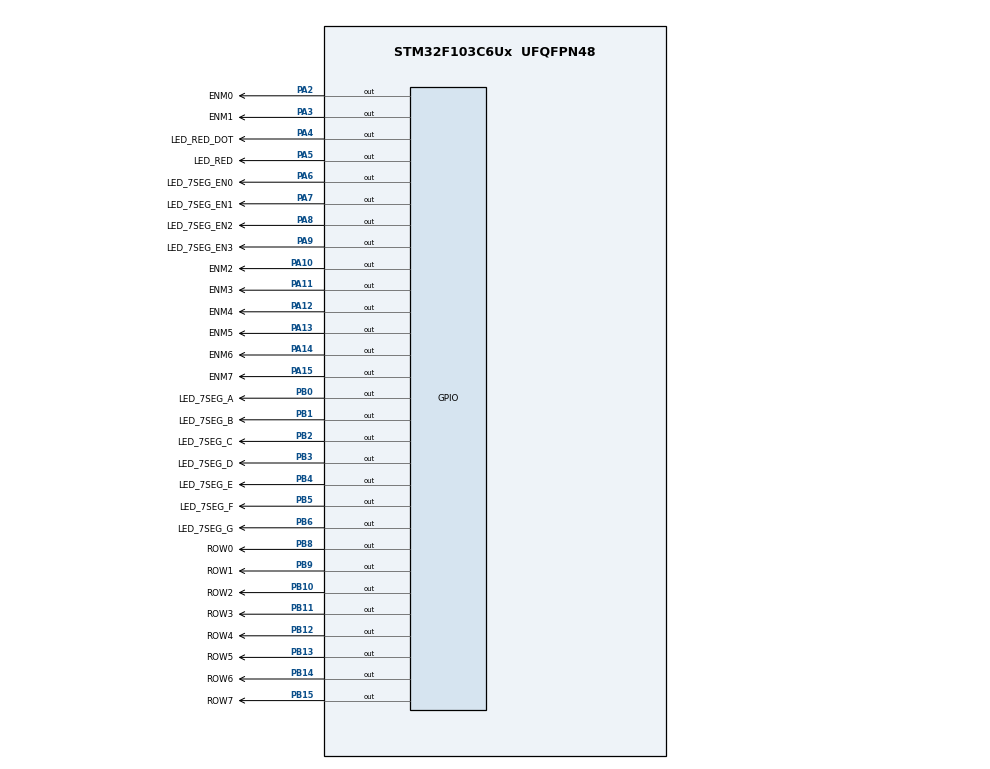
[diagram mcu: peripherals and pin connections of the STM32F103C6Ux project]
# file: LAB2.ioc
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Mcu.Family=STM32F1
Mcu.Name=STM32F103C6Ux
Mcu.Package=UFQFPN48
NVIC.PriorityGroup=NVIC_PRIORITYGROUP_4
NVIC.TIM2_IRQn=true\:0\:0\:false\:false\:true\:true\:true
PA10.GPIO_Label=ENM2
PA10.Signal=GPIO_Output
PA11.GPIO_Label=ENM3
PA11.Signal=GPIO_Output
PA12.GPIO_Label=ENM4
PA12.Signal=GPIO_Output
PA13.GPIO_Label=ENM5
PA13.Signal=GPIO_Output
PA14.GPIO_Label=ENM6
PA14.Signal=GPIO_Output
PA15.GPIO_Label=ENM7
PA15.Signal=GPIO_Output
PA2.GPIO_Label=ENM0
PA2.Signal=GPIO_Output
PA3.GPIO_Label=ENM1
PA3.Signal=GPIO_Output
PA4.GPIO_Label=LED_RED_DOT
PA4.Signal=GPIO_Output
PA5.GPIO_Label=LED_RED
PA5.Signal=GPIO_Output
PA6.GPIO_Label=LED_7SEG_EN0
PA6.Signal=GPIO_Output
PA7.GPIO_Label=LED_7SEG_EN1
PA7.Signal=GPIO_Output
PA8.GPIO_Label=LED_7SEG_EN2
PA8.Signal=GPIO_Output
PA9.GPIO_Label=LED_7SEG_EN3
PA9.Signal=GPIO_Output
PB0.GPIO_Label=LED_7SEG_A
PB0.Signal=GPIO_Output
PB1.GPIO_Label=LED_7SEG_B
PB1.Signal=GPIO_Output
PB10.GPIO_Label=ROW2
PB10.Signal=GPIO_Output
PB11.GPIO_Label=ROW3
PB11.Signal=GPIO_Output
PB12.GPIO_Label=ROW4
PB12.Signal=GPIO_Output
PB13.GPIO_Label=ROW5
PB13.Signal=GPIO_Output
PB14.GPIO_Label=ROW6
PB14.Signal=GPIO_Output
PB15.GPIO_Label=ROW7
PB15.Signal=GPIO_Output
PB2.GPIO_Label=LED_7SEG_C
PB2.Signal=GPIO_Output
PB3.GPIO_Label=LED_7SEG_D
PB3.Signal=GPIO_Output
PB4.GPIO_Label=LED_7SEG_E
PB4.Signal=GPIO_Output
PB5.GPIO_Label=LED_7SEG_F
PB5.Signal=GPIO_Output
PB6.GPIO_Label=LED_7SEG_G
PB6.Signal=GPIO_Output
PB8.GPIO_Label=ROW0
PB8.Signal=GPIO_Output
PB9.GPIO_Label=ROW1
PB9.Signal=GPIO_Output
ProjectManager.HeapSize=0x200
ProjectManager.StackSize=0x400
ProjectManager.TargetToolchain=STM32CubeIDE
RCC.APB1Freq_Value=8000000
RCC.APB2Freq_Value=8000000
TIM2.Period=9
TIM2.Prescaler=7999
VP_SYS_VS_ND.Mode=No_Debug
VP_TIM2_VS_ClockSourceINT.Mode=Internal
board=custom

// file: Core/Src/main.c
/* USER CODE BEGIN Header */
/**
  ******************************************************************************
  * @file           : main.c
  * @brief          : Main program body
  ******************************************************************************
  * @attention
  *
  * <h2><center>&copy; Copyright (c) 2022 STMicroelectronics.
  * All rights reserved.</center></h2>
  *
  * This software component is licensed by ST under BSD 3-Clause license,
  * the "License"; You may not use this file except in compliance with the
  * License. You may obtain a copy of the License at:
  *                        opensource.org/licenses/BSD-3-Clause
  *
  ******************************************************************************
  */
/* USER CODE END Header */
#include "main.h"

/* USER CODE BEGIN Includes */
#include "software_timer.h"
/* USER CODE END Includes */

TIM_HandleTypeDef htim2;

void SystemClock_Config(void);
static void MX_TIM2_Init(void);
static void MX_GPIO_Init(void);

/* USER CODE BEGIN 0 */
int timer0_counter = 0;
int timer0_flag = 0;
int TIMER_CYCLE = 10;
void setTimer0(int duration){
	timer0_counter = duration / TIMER_CYCLE ;
	timer0_flag = 0;
}
void timer_run(){
	if( timer0_counter > 0){
		timer0_counter --;
		if( timer0_counter == 0) timer0_flag = 1;
	}
}

/* USER CODE END 0 */

int main(void)
{

  /* MCU Configuration--------------------------------------------------------*/

  /* Reset of all peripherals, Initializes the Flash interface and the Systick. */
  HAL_Init();

  /* Configure the system clock */
  SystemClock_Config();

  /* Initialize all configured peripherals */
  MX_TIM2_Init();
  MX_GPIO_Init();
  /* USER CODE BEGIN 2 */
  HAL_TIM_Base_Start_IT(&htim2);
  /* USER CODE END 2 */

  /* Infinite loop */
  /* USER CODE BEGIN WHILE */

  void LED_7SEG_MODE(int a, int b, int c, int d, int e, int f, int g){
//	better with switch case
	HAL_GPIO_WritePin ( LED_7SEG_A_GPIO_Port , LED_7SEG_A_Pin, a );
	HAL_GPIO_WritePin ( LED_7SEG_B_GPIO_Port , LED_7SEG_B_Pin, b );
	HAL_GPIO_WritePin ( LED_7SEG_C_GPIO_Port , LED_7SEG_C_Pin, c );
	HAL_GPIO_WritePin ( LED_7SEG_D_GPIO_Port , LED_7SEG_D_Pin, d );
	HAL_GPIO_WritePin ( LED_7SEG_E_GPIO_Port , LED_7SEG_E_Pin, e );
	HAL_GPIO_WritePin ( LED_7SEG_F_GPIO_Port , LED_7SEG_F_Pin, f );
	HAL_GPIO_WritePin ( LED_7SEG_G_GPIO_Port , LED_7SEG_G_Pin, g );
  }

  void  display7SEG(int num){
	  switch(num){
	  	  case 0:
	  		LED_7SEG_MODE(0,0,0,0,0,0,1);
	  		break;
	  	  case 1:
	  		LED_7SEG_MODE(1,0,0,1,1,1,1);
	  		break;
	  	  case 2:
	  		LED_7SEG_MODE(0,0,1,0,0,1,0);
			break;
	  	  case 3:
	  		LED_7SEG_MODE(0,0,0,0,1,1,0);
			break;
	  	  case 4:
	  		LED_7SEG_MODE(1,0,0,1,1,0,0);
	  		break;
	  	  case 5:
	  		LED_7SEG_MODE(0,1,0,0,1,0,0);
	  		break;
	  	  case 6:
	  		LED_7SEG_MODE(0,1,0,0,0,0,0);
	  		break;
	  	  case 7:
	  		LED_7SEG_MODE(0,0,0,1,1,1,1);
	  		break;
	  	  case 8:
	  		LED_7SEG_MODE(0,0,0,0,0,0,0);
	  		break;
	  	  case 9:
	  		LED_7SEG_MODE(0,0,0,0,1,0,0);
	  		break;
	  }
  }

  const int MAX_LED = 4;

  int led_buffer[4] = {1, 5, 0, 8};
  void update7SEG(int index){
	  switch(index){
	  case 0:
		HAL_GPIO_WritePin(GPIOA, LED_7SEG_EN0_Pin, 0);
		HAL_GPIO_WritePin(GPIOA, LED_7SEG_EN1_Pin, 1);
		HAL_GPIO_WritePin(GPIOA, LED_7SEG_EN2_Pin, 1);
		HAL_GPIO_WritePin(GPIOA, LED_7SEG_EN3_Pin, 1);
		display7SEG(led_buffer[0]);
		break;
	  case 1:
		HAL_GPIO_WritePin(GPIOA, LED_7SEG_EN0_Pin, 1);
		HAL_GPIO_WritePin(GPIOA, LED_7SEG_EN1_Pin, 0);
		HAL_GPIO_WritePin(GPIOA, LED_7SEG_EN2_Pin, 1);
		HAL_GPIO_WritePin(GPIOA, LED_7SEG_EN3_Pin, 1);
		display7SEG(led_buffer[1]);
		break;
	  case 2:
		HAL_GPIO_WritePin(GPIOA, LED_7SEG_EN0_Pin, 1);
		HAL_GPIO_WritePin(GPIOA, LED_7SEG_EN1_Pin, 1);
		HAL_GPIO_WritePin(GPIOA, LED_7SEG_EN2_Pin, 0);
		HAL_GPIO_WritePin(GPIOA, LED_7SEG_EN3_Pin, 1);
		display7SEG(led_buffer[2]);
		break;
	  case 3:
		HAL_GPIO_WritePin(GPIOA, LED_7SEG_EN0_Pin, 1);
		HAL_GPIO_WritePin(GPIOA, LED_7SEG_EN1_Pin, 1);
		HAL_GPIO_WritePin(GPIOA, LED_7SEG_EN2_Pin, 1);
		HAL_GPIO_WritePin(GPIOA, LED_7SEG_EN3_Pin, 0);
		display7SEG(led_buffer[3]);
		break;
	  default:
		  break;
	  }
  }

  void updateClockBuffer(int hour, int minute){
	  int hourDigit1 =  hour / 10;
	  int hourDigit2 = hour % 10;
	  int minuteDigit1 = minute / 10;
	  int minuteDigit2 = minute % 10;
	  led_buffer[0] = hourDigit1;
	  led_buffer[1] = hourDigit2;
	  led_buffer[2] = minuteDigit1;
	  led_buffer[3] = minuteDigit2;
  }

  const int MAX_LED_MATRIX = 8;
  int index_led_matrix = 0;
  uint8_t matrix_buffer[8] = {0x01 , 0x02 , 0x03 , 0x04 , 0x05 , 0x06 , 0x07 , 0x08 };
  void updateLEDMatrix (int index){
	  switch (index){
		  case 0:
			  HAL_GPIO_WritePin(ROW0_GPIO_Port, ROW0_Pin, 1);
			  HAL_GPIO_WritePin(ENM1_GPIO_Port, ENM1_Pin, 1);
			  HAL_GPIO_WritePin(ENM2_GPIO_Port, ENM2_Pin, 1);
			  HAL_GPIO_WritePin(ENM3_GPIO_Port, ENM3_Pin, 1);
			  HAL_GPIO_WritePin(ENM4_GPIO_Port, ENM4_Pin, 1);
			  HAL_GPIO_WritePin(ENM5_GPIO_Port, ENM5_Pin, 1);
			  HAL_GPIO_WritePin(ENM6_GPIO_Port, ENM6_Pin, 1);
			  HAL_GPIO_WritePin(ENM7_GPIO_Port, ENM7_Pin, 1);
			  break ;
		  case 1:
			  HAL_GPIO_WritePin(ROW1_GPIO_Port, ROW1_Pin, 1);
			  HAL_GPIO_WritePin(ROW2_GPIO_Port, ROW2_Pin, 1);
			  HAL_GPIO_WritePin(ROW3_GPIO_Port, ROW3_Pin, 1);
			  HAL_GPIO_WritePin(ROW5_GPIO_Port, ROW5_Pin, 1);
			  HAL_GPIO_WritePin(ROW6_GPIO_Port, ROW6_Pin, 1);
			  HAL_GPIO_WritePin(ROW7_GPIO_Port, ROW7_Pin, 1);

			  HAL_GPIO_WritePin(ENM0_GPIO_Port, ENM0_Pin, 1);
		//	  HAL_GPIO_WritePin(ENM1_GPIO_Port, ENM1_Pin, 1);
			  HAL_GPIO_WritePin(ENM2_GPIO_Port, ENM2_Pin, 1);
			  HAL_GPIO_WritePin(ENM3_GPIO_Port, ENM3_Pin, 1);
			  HAL_GPIO_WritePin(ENM4_GPIO_Port, ENM4_Pin, 1);
			  HAL_GPIO_WritePin(ENM5_GPIO_Port, ENM5_Pin, 1);
			  HAL_GPIO_WritePin(ENM6_GPIO_Port, ENM6_Pin, 1);
			  HAL_GPIO_WritePin(ENM7_GPIO_Port, ENM7_Pin, 1);
			  break ;
		  case 2:
			  //	  HAL_GPIO_WritePin(ROW0_GPIO_Port, ROW0_Pin, 1);
			  	  HAL_GPIO_WritePin(ROW1_GPIO_Port, ROW1_Pin, 1);
			  	  HAL_GPIO_WritePin(ROW2_GPIO_Port, ROW2_Pin, 1);
			  	  HAL_GPIO_WritePin(ROW3_GPIO_Port, ROW3_Pin, 1);
			  //	  HAL_GPIO_WritePin(ROW4_GPIO_Port, ROW4_Pin, 1);
			  	  HAL_GPIO_WritePin(ROW5_GPIO_Port, ROW5_Pin, 1);
			  	  HAL_GPIO_WritePin(ROW6_GPIO_Port, ROW6_Pin, 1);
			  	  HAL_GPIO_WritePin(ROW7_GPIO_Port, ROW7_Pin, 1);

			  	  HAL_GPIO_WritePin(ENM0_GPIO_Port, ENM0_Pin, 1);
			  	  HAL_GPIO_WritePin(ENM1_GPIO_Port, ENM1_Pin, 1);
			  //	  HAL_GPIO_WritePin(ENM2_GPIO_Port, ENM2_Pin, 1);
			  	  HAL_GPIO_WritePin(ENM3_GPIO_Port, ENM3_Pin, 1);
			  	  HAL_GPIO_WritePin(ENM4_GPIO_Port, ENM4_Pin, 1);
			  	  HAL_GPIO_WritePin(ENM5_GPIO_Port, ENM5_Pin, 1);
			  	  HAL_GPIO_WritePin(ENM6_GPIO_Port, ENM6_Pin, 1);
			  	  HAL_GPIO_WritePin(ENM7_GPIO_Port, ENM7_Pin, 1);
			  break ;
		  case 3:
			  //	  HAL_GPIO_WritePin(ROW0_GPIO_Port, ROW0_Pin, 1);
			  	  HAL_GPIO_WritePin(ROW1_GPIO_Port, ROW1_Pin, 1);
			  	  HAL_GPIO_WritePin(ROW2_GPIO_Port, ROW2_Pin, 1);
			  	  HAL_GPIO_WritePin(ROW3_GPIO_Port, ROW3_Pin, 1);
			  //	  HAL_GPIO_WritePin(ROW4_GPIO_Port, ROW4_Pin, 1);
			  	  HAL_GPIO_WritePin(ROW5_GPIO_Port, ROW5_Pin, 1);
			  	  HAL_GPIO_WritePin(ROW6_GPIO_Port, ROW6_Pin, 1);
			  	  HAL_GPIO_WritePin(ROW7_GPIO_Port, ROW7_Pin, 1);

			  	  HAL_GPIO_WritePin(ENM0_GPIO_Port, ENM0_Pin, 1);
			  	  HAL_GPIO_WritePin(ENM1_GPIO_Port, ENM1_Pin, 1);
			  	  HAL_GPIO_WritePin(ENM2_GPIO_Port, ENM2_Pin, 1);
			  //	  HAL_GPIO_WritePin(ENM3_GPIO_Port, ENM3_Pin, 1);
			  	  HAL_GPIO_WritePin(ENM4_GPIO_Port, ENM4_Pin, 1);
			  	  HAL_GPIO_WritePin(ENM5_GPIO_Port, ENM5_Pin, 1);
			  	  HAL_GPIO_WritePin(ENM6_GPIO_Port, ENM6_Pin, 1);
			  	  HAL_GPIO_WritePin(ENM7_GPIO_Port, ENM7_Pin, 1);
			  break ;
		  case 4:
			  //	  HAL_GPIO_WritePin(ROW0_GPIO_Port, ROW0_Pin, 1);
			  	  HAL_GPIO_WritePin(ROW1_GPIO_Port, ROW1_Pin, 1);
			  	  HAL_GPIO_WritePin(ROW2_GPIO_Port, ROW2_Pin, 1);
			  	  HAL_GPIO_WritePin(ROW3_GPIO_Port, ROW3_Pin, 1);
			  //	  HAL_GPIO_WritePin(ROW4_GPIO_Port, ROW4_Pin, 1);
			  	  HAL_GPIO_WritePin(ROW5_GPIO_Port, ROW5_Pin, 1);
			  	  HAL_GPIO_WritePin(ROW6_GPIO_Port, ROW6_Pin, 1);
			  	  HAL_GPIO_WritePin(ROW7_GPIO_Port, ROW7_Pin, 1);

			  	  HAL_GPIO_WritePin(ENM0_GPIO_Port, ENM0_Pin, 1);
			  	  HAL_GPIO_WritePin(ENM1_GPIO_Port, ENM1_Pin, 1);
			  	  HAL_GPIO_WritePin(ENM2_GPIO_Port, ENM2_Pin, 1);
			  	  HAL_GPIO_WritePin(ENM3_GPIO_Port, ENM3_Pin, 1);
			  //	  HAL_GPIO_WritePin(ENM4_GPIO_Port, ENM4_Pin, 1);
			  	  HAL_GPIO_WritePin(ENM5_GPIO_Port, ENM5_Pin, 1);
			  	  HAL_GPIO_WritePin(ENM6_GPIO_Port, ENM6_Pin, 1);
			  	  HAL_GPIO_WritePin(ENM7_GPIO_Port, ENM7_Pin, 1);
			  break ;
		  case 5:
			  HAL_GPIO_WritePin(ROW0_GPIO_Port, ROW0_Pin, 1);
		//	  HAL_GPIO_WritePin(ROW1_GPIO_Port, ROW1_Pin, 1);
		//	  HAL_GPIO_WritePin(ROW2_GPIO_Port, ROW2_Pin, 1);
		//	  HAL_GPIO_WritePin(ROW3_GPIO_Port, ROW3_Pin, 1);
		//	  HAL_GPIO_WritePin(ROW4_GPIO_Port, ROW4_Pin, 1);
		//	  HAL_GPIO_WritePin(ROW5_GPIO_Port, ROW5_Pin, 1);
		//	  HAL_GPIO_WritePin(ROW6_GPIO_Port, ROW6_Pin, 1);
		//	  HAL_GPIO_WritePin(ROW7_GPIO_Port, ROW7_Pin, 1);

			  HAL_GPIO_WritePin(ENM0_GPIO_Port, ENM0_Pin, 1);
			  HAL_GPIO_WritePin(ENM1_GPIO_Port, ENM1_Pin, 1);
			  HAL_GPIO_WritePin(ENM2_GPIO_Port, ENM2_Pin, 1);
			  HAL_GPIO_WritePin(ENM3_GPIO_Port, ENM3_Pin, 1);
			  HAL_GPIO_WritePin(ENM4_GPIO_Port, ENM4_Pin, 1);
		//	  HAL_GPIO_WritePin(ENM5_GPIO_Port, ENM5_Pin, 1);
			  HAL_GPIO_WritePin(ENM6_GPIO_Port, ENM6_Pin, 1);
			  HAL_GPIO_WritePin(ENM7_GPIO_Port, ENM7_Pin, 1);
			  break ;
		  case 6:
			  break ;
		  case 7:
			  break ;
		  default :
			  break ;
	  }
  }

  int index_led = 0;
  int state = 0;
  int hour = 15, minute = 8, second = 50;
  setTimer0(1000);
  setTimer1(1000/MAX_LED);
  while (1) {
	  HAL_GPIO_WritePin(ROW0_GPIO_Port, ROW0_Pin, 1);
//	  HAL_GPIO_WritePin(ROW1_GPIO_Port, ROW1_Pin, 1);
//	  HAL_GPIO_WritePin(ROW2_GPIO_Port, ROW2_Pin, 1);
//	  HAL_GPIO_WritePin(ROW3_GPIO_Port, ROW3_Pin, 1);
//	  HAL_GPIO_WritePin(ROW4_GPIO_Port, ROW4_Pin, 1);
//	  HAL_GPIO_WritePin(ROW5_GPIO_Port, ROW5_Pin, 1);
//	  HAL_GPIO_WritePin(ROW6_GPIO_Port, ROW6_Pin, 1);
//	  HAL_GPIO_WritePin(ROW7_GPIO_Port, ROW7_Pin, 1);

	  HAL_GPIO_WritePin(ENM0_GPIO_Port, ENM0_Pin, 1);
	  HAL_GPIO_WritePin(ENM1_GPIO_Port, ENM1_Pin, 1);
	  HAL_GPIO_WritePin(ENM2_GPIO_Port, ENM2_Pin, 1);
	  HAL_GPIO_WritePin(ENM3_GPIO_Port, ENM3_Pin, 1);
	  HAL_GPIO_WritePin(ENM4_GPIO_Port, ENM4_Pin, 1);
//	  HAL_GPIO_WritePin(ENM5_GPIO_Port, ENM5_Pin, 1);
	  HAL_GPIO_WritePin(ENM6_GPIO_Port, ENM6_Pin, 1);
	  HAL_GPIO_WritePin(ENM7_GPIO_Port, ENM7_Pin, 1);
	  HAL_Delay(1000);
  }
    /* USER CODE END WHILE */
}

void SystemClock_Config(void)
{
  RCC_OscInitTypeDef RCC_OscInitStruct = {0};
  RCC_ClkInitTypeDef RCC_ClkInitStruct = {0};

  /** Initializes the RCC Oscillators according to the specified parameters
  * in the RCC_OscInitTypeDef structure.
  */
  RCC_OscInitStruct.OscillatorType = RCC_OSCILLATORTYPE_HSI;
  RCC_OscInitStruct.HSIState = RCC_HSI_ON;
  RCC_OscInitStruct.HSICalibrationValue = RCC_HSICALIBRATION_DEFAULT;
  RCC_OscInitStruct.PLL.PLLState = RCC_PLL_NONE;
  if (HAL_RCC_OscConfig(&RCC_OscInitStruct) != HAL_OK)
  {
    Error_Handler();
  }
  /** Initializes the CPU, AHB and APB buses clocks
  */
  RCC_ClkInitStruct.ClockType = RCC_CLOCKTYPE_HCLK|RCC_CLOCKTYPE_SYSCLK
                              |RCC_CLOCKTYPE_PCLK1|RCC_CLOCKTYPE_PCLK2;
  RCC_ClkInitStruct.SYSCLKSource = RCC_SYSCLKSOURCE_HSI;
  RCC_ClkInitStruct.AHBCLKDivider = RCC_SYSCLK_DIV1;
  RCC_ClkInitStruct.APB1CLKDivider = RCC_HCLK_DIV1;
  RCC_ClkInitStruct.APB2CLKDivider = RCC_HCLK_DIV1;

  if (HAL_RCC_ClockConfig(&RCC_ClkInitStruct, FLASH_LATENCY_0) != HAL_OK)
  {
    Error_Handler();
  }
}

static void MX_TIM2_Init(void)
{

  TIM_ClockConfigTypeDef sClockSourceConfig = {0};
  TIM_MasterConfigTypeDef sMasterConfig = {0};

  htim2.Instance = TIM2;
  htim2.Init.Prescaler = 7999;
  htim2.Init.CounterMode = TIM_COUNTERMODE_UP;
  htim2.Init.Period = 9;
  htim2.Init.ClockDivision = TIM_CLOCKDIVISION_DIV1;
  htim2.Init.AutoReloadPreload = TIM_AUTORELOAD_PRELOAD_DISABLE;
  if (HAL_TIM_Base_Init(&htim2) != HAL_OK)
  {
    Error_Handler();
  }
  sClockSourceConfig.ClockSource = TIM_CLOCKSOURCE_INTERNAL;
  if (HAL_TIM_ConfigClockSource(&htim2, &sClockSourceConfig) != HAL_OK)
  {
    Error_Handler();
  }
  sMasterConfig.MasterOutputTrigger = TIM_TRGO_RESET;
  sMasterConfig.MasterSlaveMode = TIM_MASTERSLAVEMODE_DISABLE;
  if (HAL_TIMEx_MasterConfigSynchronization(&htim2, &sMasterConfig) != HAL_OK)
  {
    Error_Handler();
  }

}

static void MX_GPIO_Init(void)
{
  GPIO_InitTypeDef GPIO_InitStruct = {0};

  /* GPIO Ports Clock Enable */
  __HAL_RCC_GPIOA_CLK_ENABLE();
  __HAL_RCC_GPIOB_CLK_ENABLE();

  /*Configure GPIO pin Output Level */
  HAL_GPIO_WritePin(GPIOA, ENM0_Pin|ENM1_Pin|LED_RED_DOT_Pin|LED_RED_Pin
                          |LED_7SEG_EN0_Pin|LED_7SEG_EN1_Pin|LED_7SEG_EN2_Pin|LED_7SEG_EN3_Pin
                          |ENM2_Pin|ENM3_Pin|ENM4_Pin|ENM5_Pin
                          |ENM6_Pin|ENM7_Pin, GPIO_PIN_RESET);

  /*Configure GPIO pin Output Level */
  HAL_GPIO_WritePin(GPIOB, LED_7SEG_A_Pin|LED_7SEG_B_Pin|LED_7SEG_C_Pin|ROW2_Pin
                          |ROW3_Pin|ROW4_Pin|ROW5_Pin|ROW6_Pin
                          |ROW7_Pin|LED_7SEG_D_Pin|LED_7SEG_E_Pin|LED_7SEG_F_Pin
                          |LED_7SEG_G_Pin|ROW0_Pin|ROW1_Pin, GPIO_PIN_RESET);

  /*Configure GPIO pins : ENM0_Pin ENM1_Pin LED_RED_DOT_Pin LED_RED_Pin
                           LED_7SEG_EN0_Pin LED_7SEG_EN1_Pin LED_7SEG_EN2_Pin LED_7SEG_EN3_Pin
                           ENM2_Pin ENM3_Pin ENM4_Pin ENM5_Pin
                           ENM6_Pin ENM7_Pin */
  GPIO_InitStruct.Pin = ENM0_Pin|ENM1_Pin|LED_RED_DOT_Pin|LED_RED_Pin
                          |LED_7SEG_EN0_Pin|LED_7SEG_EN1_Pin|LED_7SEG_EN2_Pin|LED_7SEG_EN3_Pin
                          |ENM2_Pin|ENM3_Pin|ENM4_Pin|ENM5_Pin
                          |ENM6_Pin|ENM7_Pin;
  GPIO_InitStruct.Mode = GPIO_MODE_OUTPUT_PP;
  GPIO_InitStruct.Pull = GPIO_NOPULL;
  GPIO_InitStruct.Speed = GPIO_SPEED_FREQ_LOW;
  HAL_GPIO_Init(GPIOA, &GPIO_InitStruct);

  /*Configure GPIO pins : LED_7SEG_A_Pin LED_7SEG_B_Pin LED_7SEG_C_Pin ROW2_Pin
                           ROW3_Pin ROW4_Pin ROW5_Pin ROW6_Pin
                           ROW7_Pin LED_7SEG_D_Pin LED_7SEG_E_Pin LED_7SEG_F_Pin
                           LED_7SEG_G_Pin ROW0_Pin ROW1_Pin */
  GPIO_InitStruct.Pin = LED_7SEG_A_Pin|LED_7SEG_B_Pin|LED_7SEG_C_Pin|ROW2_Pin
                          |ROW3_Pin|ROW4_Pin|ROW5_Pin|ROW6_Pin
                          |ROW7_Pin|LED_7SEG_D_Pin|LED_7SEG_E_Pin|LED_7SEG_F_Pin
                          |LED_7SEG_G_Pin|ROW0_Pin|ROW1_Pin;
  GPIO_InitStruct.Mode = GPIO_MODE_OUTPUT_PP;
  GPIO_InitStruct.Pull = GPIO_NOPULL;
  GPIO_InitStruct.Speed = GPIO_SPEED_FREQ_LOW;
  HAL_GPIO_Init(GPIOB, &GPIO_InitStruct);

}

/* USER CODE BEGIN 4 */
	void HAL_TIM_PeriodElapsedCallback(TIM_HandleTypeDef * htim){
		timer_run ();
		timer1Run();
		timer2Run();
	}
/* USER CODE END 4 */

void Error_Handler(void)
{
  __disable_irq();
  while (1)
  {
  }
}

/************************ (C) COPYRIGHT STMicroelectronics *****END OF FILE****/
